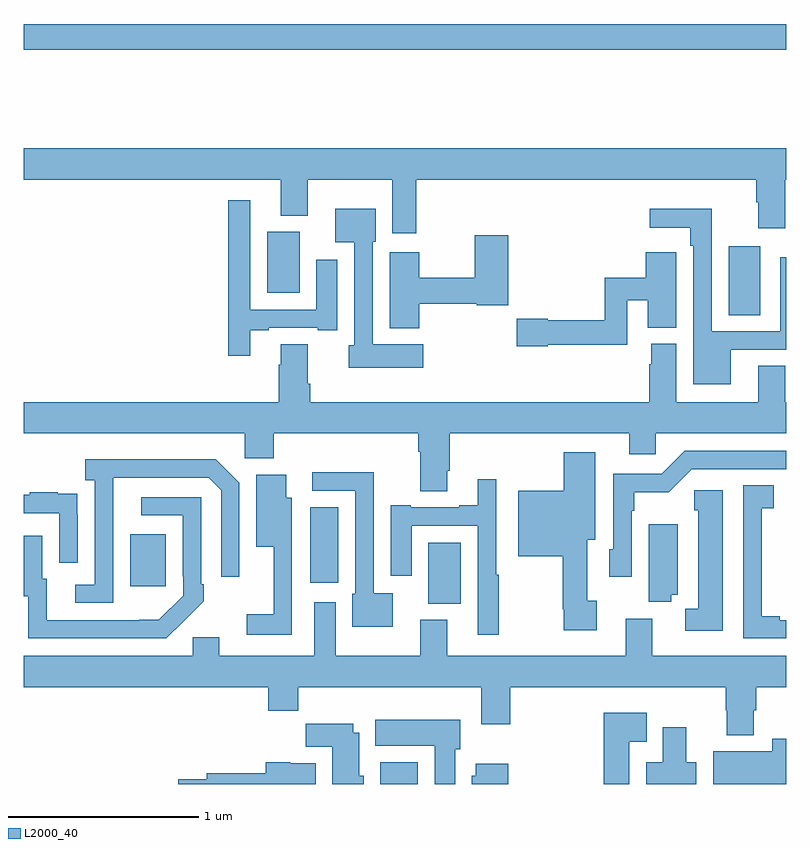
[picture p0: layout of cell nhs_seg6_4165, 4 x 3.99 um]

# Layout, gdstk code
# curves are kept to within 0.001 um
import gdstk
lib = gdstk.Library(unit=1e-6, precision=1e-09)
def R(c, l, rs):  # rectangles x0, y0, x1, y1
    for r in rs: c.add(gdstk.rectangle(r[:2], r[2:], *l))
def P(c, l, *ps):  # polygons
    for p in ps: c.add(gdstk.Polygon(p, *l))
L2000_40 = (2000, 40)

nhs_seg6_4165 = lib.new_cell('nhs_seg6_4165')
R(nhs_seg6_4165, L2000_40, [(358.871,941.5,359.068,941.614), (359.123,942.446,359.293,942.766), (357.557,942.537,357.745,942.811), (358.502,942.555,358.651,942.953), (360.698,943.96,360.865,944.323), (358.277,944.078,358.447,944.398), (357,945.352,361,945.488)])
P(nhs_seg6_4165, L2000_40, [(359.06,944.672),(360.842,944.672),(360.842,944.552),(360.854,944.552),(360.854,944.415),(360.994,944.415),(360.994,944.672),(361,944.672),(361,944.836),(357,944.836),(357,944.672),(358.349,944.672),(358.349,944.483),(358.489,944.483),(358.489,944.672),(358.934,944.672),(358.934,944.391),(359.06,944.391)],
  [(358.189,943.881),(358.285,943.881),(358.285,943.893),(358.541,943.893),(358.541,943.881),(358.645,943.881),(358.645,944.251),(358.535,944.251),(358.535,943.989),(358.188,943.989),(358.188,944.563),(358.072,944.563),(358.072,943.746),(358.189,943.746)],
  [(359.095,943.807),(358.83,943.807),(358.83,944.346),(358.846,944.346),(358.846,944.518),(358.634,944.518),(358.634,944.342),(358.734,944.342),(358.734,943.803),(358.706,943.803),(358.706,943.685),(359.095,943.685)],
  [(360.709,943.779),(361,943.779),(361,944.263),(360.969,944.263),(360.969,943.875),(360.609,943.875),(360.609,944.518),(360.285,944.518),(360.285,944.42),(360.497,944.42),(360.497,944.324),(360.513,944.324),(360.513,943.598),(360.709,943.598)],
  [(359.076,944.02),(359.376,944.02),(359.376,944.012),(359.543,944.012),(359.543,944.38),(359.365,944.38),(359.365,944.156),(359.076,944.156),(359.076,944.29),(358.919,944.29),(358.919,943.892),(359.076,943.892)],
  [(359.748,943.806),(360.165,943.806),(360.165,944.038),(360.275,944.038),(360.275,943.894),(360.424,943.894),(360.424,944.177),(360.423,944.177),(360.423,944.29),(360.263,944.29),(360.263,944.156),(360.049,944.156),(360.049,943.934),(359.748,943.934),(359.748,943.942),(359.586,943.942),(359.586,943.798),(359.748,943.798)],
  [(360.315,943.34),(361,943.34),(361,943.504),(360.994,943.504),(360.994,943.694),(360.854,943.694),(360.854,943.504),(360.424,943.504),(360.424,943.809),(360.293,943.809),(360.293,943.703),(360.281,943.703),(360.281,943.504),(358.502,943.504),(358.502,943.6),(358.489,943.6),(358.489,943.808),(358.349,943.808),(358.349,943.7),(358.337,943.7),(358.337,943.504),(357,943.504),(357,943.34),(358.158,943.34),(358.158,943.209),(358.31,943.209),(358.31,943.34),(359.069,943.34),(359.069,943.244),(359.081,943.244),(359.081,943.036),(359.221,943.036),(359.221,943.144),(359.234,943.144),(359.234,943.34),(360.176,943.34),(360.176,943.23),(360.315,943.23)],
  [(360.189,942.935),(360.202,942.935),(360.202,943.031),(360.383,943.031),(360.504,943.152),(361,943.152),(361,943.248),(360.468,943.248),(360.348,943.128),(360.093,943.128),(360.093,942.732),(360.072,942.732),(360.072,942.588),(360.189,942.588)],
  [(360.007,942.462),(359.956,942.462),(359.956,942.782),(359.998,942.782),(359.998,943.24),(359.834,943.24),(359.834,943.039),(359.594,943.039),(359.594,942.695),(359.827,942.695),(359.827,942.418),(359.834,942.418),(359.834,942.306),(360.007,942.306)],
  [(357.468,942.907),(357.469,943.107),(357.969,943.107),(358.035,943.041),(358.035,942.588),(358.131,942.588),(358.131,943.081),(358.008,943.204),(357.321,943.204),(357.321,943.094),(357.372,943.094),(357.372,942.546),(357.27,942.546),(357.27,942.45),(357.468,942.45)],
  [(358.936,942.502),(358.836,942.502),(358.836,943.136),(358.512,943.136),(358.512,943.038),(358.74,943.038),(358.74,942.498),(358.724,942.498),(358.724,942.326),(358.936,942.326)],
  [(358.407,943.003),(358.378,943.003),(358.378,943.123),(358.22,943.123),(358.22,942.746),(358.31,942.746),(358.31,942.391),(358.17,942.391),(358.17,942.282),(358.407,942.282)],
  [(359.491,942.599),(359.478,942.599),(359.478,943.099),(359.381,943.099),(359.381,942.964),(359.285,942.964),(359.285,942.951),(359.029,942.951),(359.029,942.964),(358.925,942.964),(358.925,942.594),(359.035,942.594),(359.035,942.855),(359.382,942.855),(359.382,942.282),(359.491,942.282)],
  [(361,942.36),(360.967,942.36),(360.967,942.38),(360.871,942.38),(360.871,942.643),(360.873,942.643),(360.873,942.947),(360.934,942.947),(360.934,943.067),(360.774,943.067),(360.774,942.264),(361,942.264)],
  [(360.667,943.042),(360.517,943.042),(360.517,942.936),(360.539,942.936),(360.539,942.42),(360.471,942.42),(360.471,942.305),(360.667,942.305)],
  [(357.282,942.914),(357.281,942.914),(357.281,943.023),(357.179,943.023),(357.179,943.03),(357.031,943.03),(357.031,943.017),(357,943.017),(357,942.921),(357.186,942.921),(357.186,942.66),(357.282,942.66)],
  [(357.839,942.355),(357.84,942.354),(357.945,942.459),(357.945,942.547),(357.93,942.547),(357.93,943.005),(357.615,943.005),(357.615,942.909),(357.834,942.909),(357.834,942.589),(357.837,942.589),(357.837,942.489),(357.709,942.361),(357.121,942.36),(357.121,942.576),(357.097,942.576),(357.097,942.802),(357,942.802),(357,942.486),(357.024,942.486),(357.024,942.264),(357.748,942.264)],
  [(360.398,942.494),(360.43,942.494),(360.43,942.862),(360.278,942.862),(360.278,942.457),(360.398,942.457)],
  [(360.829,941.888),(360.842,941.888),(360.842,942.008),(361,942.008),(361,942.172),(360.298,942.172),(360.298,942.367),(360.158,942.367),(360.158,942.172),(359.221,942.172),(359.221,942.361),(359.081,942.361),(359.081,942.172),(358.636,942.172),(358.636,942.454),(358.523,942.454),(358.523,942.172),(358.024,942.172),(358.024,942.27),(357.885,942.27),(357.885,942.172),(357,942.172),(357,942.008),(358.283,942.008),(358.283,941.884),(358.439,941.884),(358.439,942.008),(359.399,942.008),(359.399,941.814),(359.552,941.814),(359.552,942.008),(360.682,942.008),(360.682,941.888),(360.689,941.888),(360.689,941.756),(360.829,941.756)],
  [(360.178,941.723),(360.268,941.723),(360.268,941.875),(360.044,941.875),(360.044,941.5),(360.178,941.5)],
  [(359.263,941.682),(359.29,941.682),(359.29,941.836),(358.844,941.836),(358.844,941.702),(359.156,941.702),(359.156,941.5),(359.263,941.5)],
  [(358.783,941.544),(358.759,941.544),(358.759,941.77),(358.729,941.77),(358.729,941.815),(358.48,941.815),(358.48,941.696),(358.619,941.696),(358.619,941.5),(358.783,941.5)],
  [(360.529,941.614),(360.475,941.614),(360.475,941.797),(360.353,941.797),(360.353,941.614),(360.266,941.614),(360.266,941.5),(360.529,941.5)],
  [(361,941.737),(360.926,941.737),(360.926,941.671),(360.617,941.671),(360.617,941.5),(361,941.5)],
  [(358.531,941.608),(358.398,941.608),(358.398,941.614),(358.268,941.614),(358.268,941.556),(357.959,941.556),(357.959,941.526),(357.81,941.526),(357.81,941.5),(358.531,941.5)],
  [(359.543,941.605),(359.372,941.605),(359.372,941.544),(359.351,941.544),(359.351,941.5),(359.543,941.5)])

lib.write_gds('nhs_seg6_4165.gds')
